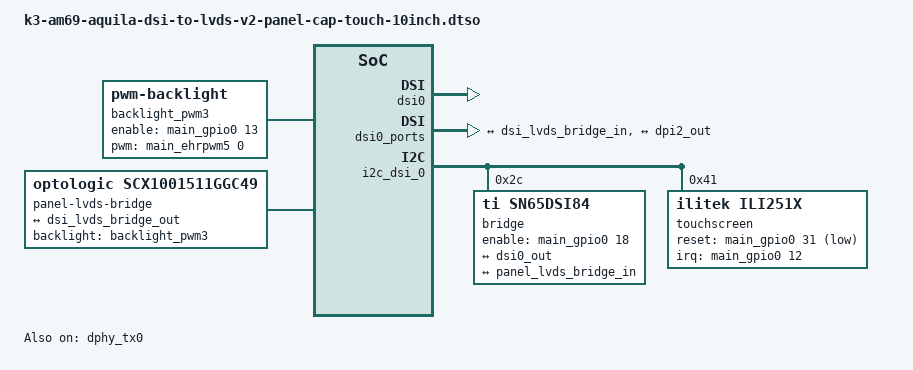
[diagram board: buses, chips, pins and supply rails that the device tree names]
// SPDX-License-Identifier: GPL-2.0-or-later OR MIT
/*
 * Copyright (c) Toradex
 *
 * Toradex DSI to LVDS Adapter on Aquila DSI_1 with Capacitive Touch Display
 * 10.1" V2 Used on Development Board (J44). DSI_1 is exposed via a Samtec
 * LSS-130 connector.
 *
 * https://developer.toradex.com/hardware/accessories/displays/capacitive-touch-display-101inch-lvds
 * https://www.toradex.com/accessories/capacitive-touch-display-10.1-inch-lvds
 * https://developer.toradex.com/hardware/accessories/add-ons/dsi-lvds-adapter
 * https://www.toradex.com/accessories/verdin-dsi-to-lvds-adapter
 */

/dts-v1/;
/plugin/;

#include <dt-bindings/gpio/gpio.h>
#include <dt-bindings/interrupt-controller/irq.h>

&{/} {
	backlight_pwm3: backlight-pwm3 {
		compatible = "pwm-backlight";
		pinctrl-names = "default";
		pinctrl-0 = <&pinctrl_gpio_19_dsi_1>;
		brightness-levels = <0 45 63 88 119 158 203 255>;
		default-brightness-level = <4>;
		/* Aquila GPIO_19_DSI_1 (AQUILA B44) - DSI_1_BKL_EN_LVDS */
		enable-gpios = <&main_gpio0 13 GPIO_ACTIVE_HIGH>;
		/* Aquila PWM_3_DSI (AQUILA B46) - PWM_3_DSI_LVDS */
		pwms = <&main_ehrpwm5 0 6666667 0>;
	};

	panel-lvds-bridge {
		compatible = "optologic,scx1001511ggc49", "panel-lvds";
		backlight = <&backlight_pwm3>;
		data-mapping = "vesa-24";
		height-mm = <136>;
		width-mm = <217>;

		/*
		 * The timings here are different from the nominal ones for the
		 * SCX1001511GGC49 display. The clock-frequency, along with the
		 * other timings, are adjusted from experimentation to work
		 * consistently with the DSI to LVDS bridge (TI SN65DSI84)
		 * across Toradex modules that use it.
		 */
		panel-timing {
			clock-frequency = <70000000>;
			hactive = <1280>;
			hback-porch = <55>;
			hfront-porch = <55>;
			hsync-len = <45>;
			vactive = <800>;
			vback-porch = <5>;
			vfront-porch = <5>;
			vsync-len = <3>;
			de-active = <1>;
			hsync-active = <0>;
			vsync-active = <0>;
			pixelclk-active = <0>;
		};

		port {
			panel_lvds_bridge_in: endpoint {
				remote-endpoint = <&dsi_lvds_bridge_out>;
			};
		};
	};
};

&dphy_tx0 {
	status = "okay";
};

&dsi0 {
	status = "okay";
};

&dsi0_ports {
	#address-cells = <1>;
	#size-cells = <0>;

	port@0 {
		reg = <0>;

		dsi0_out: endpoint {
			remote-endpoint = <&dsi_lvds_bridge_in>;
		};
	};

	port@1 {
		reg = <1>;

		dsi0_in: endpoint {
			remote-endpoint = <&dpi2_out>;
		};
	};
};

&dss_ports {
	#address-cells = <1>;
	#size-cells = <0>;

	port@2 {
		reg = <2>;

		dpi2_out: endpoint {
			remote-endpoint = <&dsi0_in>;
		};
	};
};

&i2c_dsi_0 {
	#address-cells = <1>;
	#size-cells = <0>;

	bridge@2c {
		compatible = "ti,sn65dsi84";
		reg = <0x2c>;
		pinctrl-names = "default";
		pinctrl-0 = <&pinctrl_gpio_20_dsi_1>;
		/* Aquila GPIO_20_DSI_1 (AQUILA B45) - LVDS_EN */
		enable-gpios = <&main_gpio0 18 GPIO_ACTIVE_HIGH>;

		ports {
			#address-cells = <1>;
			#size-cells = <0>;

			port@0 {
				reg = <0>;

				dsi_lvds_bridge_in: endpoint {
					remote-endpoint = <&dsi0_out>;
					data-lanes = <1 2 3 4>;
				};
			};

			port@2 {
				reg = <2>;

				dsi_lvds_bridge_out: endpoint {
					remote-endpoint = <&panel_lvds_bridge_in>;
				};
			};
		};
	};

	touchscreen@41 {
		compatible = "ilitek,ili251x";
		reg = <0x41>;
		pinctrl-names = "default";
		pinctrl-0 = <&pinctrl_gpio_17_dsi_1>, <&pinctrl_gpio_18_dsi_1>;
		/* Aquila GPIO_17_DSI_1 (AQUILA B42) - TOUCH_INT# */
		/* Rising edge avoids spurious interrupts from the noisy falling edge. */
		interrupt-parent = <&main_gpio0>;
		interrupts = <12 IRQ_TYPE_EDGE_RISING>;
		/* Aquila GPIO_18_DSI_1 (AQUILA B43) - TOUCH_RESET# */
		reset-gpios = <&main_gpio0 31 GPIO_ACTIVE_LOW>;
	};
};
